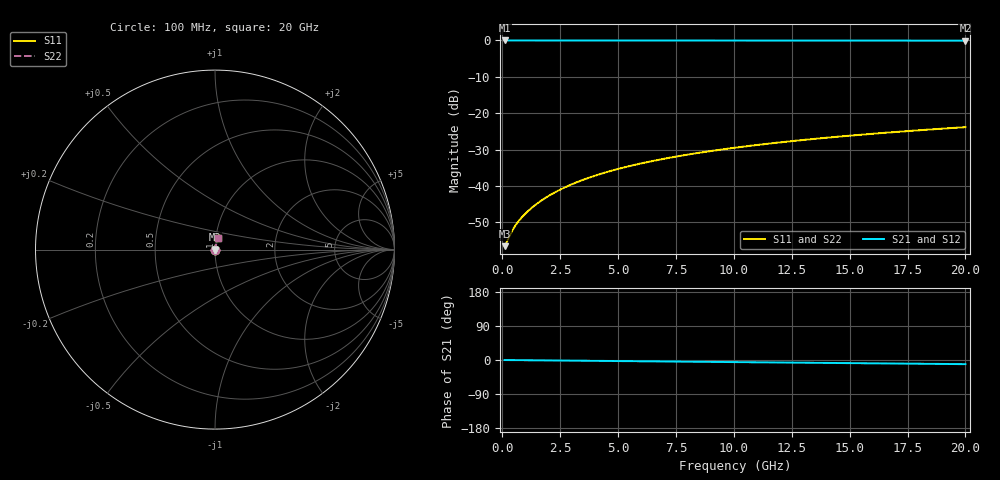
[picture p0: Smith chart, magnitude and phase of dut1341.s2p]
! Touchstone file exported from HFSS 2026.1.0
!  File:  C:/ffzhzh/LocalFiles/Ansys_Project_Files/temp_train_BSMRDL_1341_1783178850_43440.aedt
!  Generated:  11:28:39 PM Jul  4, 2026
!  Design:  BSMRDL
!  Project:  temp_train_BSMRDL_1341_1783178850_43440
! Variables:
!  h_bsmrdl = 2.51um
!  h_ox = 20um
!  h_rdl = 5um
!  h_sub = 80um
!  h_tmrdl = 5um
!  h_tsv = 80um
!  h_via = 3um
!  l_bsmrdl = 164.88um
!  l_sub = 564.88um
!  l_tmrdl = 200um
!  m_sub = 200um
!  pitch = 30um
!  r_tsv = 6um
!  s_tmrdl = 10um
!  w_bsmrdl = 21.56um
!  w_sub = 500um
!  w_tmrdl = 12um
!  x_tsv_center1 = 206um
!  x_tsv_center2 = 392.44um
!  x_tsv_center3 = 604.44um
!  x_tsv_center4 = 790.88um
!  x_tsv_center5 = 1002.88um
!  x_tsv_center6 = 1189.32um
# GHz S MA R 50.000000
! Terminal data exported
! Port[1] = BSM_RDL1_1_T1
! Port[2] = BSM_RDL1_1_T2
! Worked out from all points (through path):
!   200 points, 100 MHz to 20 GHz, reference 50 ohm
!   highest |S21| = -0.01 dB at 100 MHz (marker M1); lowest = -0.1 dB at 20 GHz (marker M2)
!   group delay of S21, straight-line fit = 1.52 ps
!   lowest |S11| = -56.5 dB at 100 MHz (marker M3), VSWR 1.00, Z = 50.1 + j0.0454 ohm
!   |S11| at or under -10 dB: start of sweep to end of sweep
!   |S22| runs from -56.5 to -23.8 dB; largest |S21 - S12| = 5.7e-15
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0.1  0.001488 17.7  0.9986 -0.1  0.9986 -0.1  0.001488 17.7
! Gamma 0 0 0 0
! Port Impedance 50 0 50 0
0.4  0.002335 45.9  0.9984 -0.2  0.9984 -0.2  0.002335 45.9
0.5  0.002653 50.1  0.9983 -0.3  0.9983 -0.3  0.002653 50.1
0.6  0.002966 53.4  0.9982 -0.4  0.9982 -0.4  0.002966 53.4
0.7  0.003273 56.0  0.9982 -0.4  0.9982 -0.4  0.003273 56.0
0.9  0.003879 60.2  0.9981 -0.5  0.9981 -0.5  0.003879 60.2
1.1  0.004484 63.5  0.998 -0.6  0.998 -0.6  0.004484 63.5
1.3  0.005095 66.1  0.998 -0.7  0.998 -0.7  0.005095 66.1
1.8  0.006657 70.7  0.9979 -1.0  0.9979 -1.0  0.006657 70.7
2.3  0.008258 73.7  0.9978 -1.3  0.9978 -1.3  0.008258 73.7
2.9  0.01021 75.9  0.9977 -1.6  0.9977 -1.6  0.01021 75.9
3.5  0.01218 77.3  0.9977 -2.0  0.9977 -2.0  0.01218 77.3
4.2  0.01449 78.3  0.9975 -2.3  0.9975 -2.3  0.01449 78.3
5  0.01713 78.9  0.9974 -2.8  0.9974 -2.8  0.01713 78.9
5.9  0.02009 79.2  0.9972 -3.3  0.9972 -3.3  0.02009 79.2
6.8  0.02304 79.3  0.997 -3.8  0.997 -3.8  0.02304 79.3
8.3  0.02792 79.2  0.9966 -4.6  0.9966 -4.6  0.02792 79.2
10.1  0.0337 78.7  0.9961 -5.6  0.9961 -5.6  0.0337 78.7
11.7  0.03878 78.1  0.9956 -6.5  0.9956 -6.5  0.03878 78.1
13.4  0.04412 77.4  0.995 -7.4  0.995 -7.4  0.04412 77.4
16.7  0.05431 76.0  0.9939 -9.2  0.9939 -9.2  0.05431 76.0
20  0.06431 74.4  0.9928 -11.0  0.9928 -11.0  0.06431 74.4
